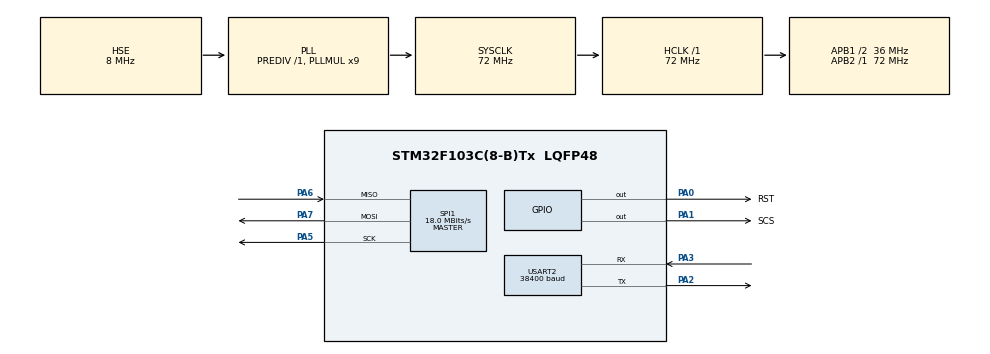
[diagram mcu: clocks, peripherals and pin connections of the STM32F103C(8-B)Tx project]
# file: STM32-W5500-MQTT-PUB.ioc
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Mcu.Family=STM32F1
Mcu.Name=STM32F103C(8-B)Tx
Mcu.Package=LQFP48
NVIC.PriorityGroup=NVIC_PRIORITYGROUP_4
PA0-WKUP.GPIO_Label=RST
PA0-WKUP.Signal=GPIO_Output
PA1.GPIO_Label=SCS
PA1.Signal=GPIO_Output
PA13.Mode=Serial_Wire
PA13.Signal=SYS_JTMS-SWDIO
PA14.Mode=Serial_Wire
PA14.Signal=SYS_JTCK-SWCLK
PA2.Mode=Asynchronous
PA2.Signal=USART2_TX
PA3.Mode=Asynchronous
PA3.Signal=USART2_RX
PA5.Mode=Full_Duplex_Master
PA5.Signal=SPI1_SCK
PA6.Mode=Full_Duplex_Master
PA6.Signal=SPI1_MISO
PA7.Mode=Full_Duplex_Master
PA7.Signal=SPI1_MOSI
PD0-OSC_IN.Mode=HSE-External-Oscillator
PD0-OSC_IN.Signal=RCC_OSC_IN
PD1-OSC_OUT.Mode=HSE-External-Oscillator
PD1-OSC_OUT.Signal=RCC_OSC_OUT
ProjectManager.HeapSize=0x200
ProjectManager.StackSize=0x400
ProjectManager.TargetToolchain=STM32CubeIDE
RCC.AHBFreq_Value=72000000
RCC.APB1CLKDivider=RCC_HCLK_DIV2
RCC.APB1Freq_Value=36000000
RCC.APB1TimFreq_Value=72000000
RCC.APB2Freq_Value=72000000
RCC.APB2TimFreq_Value=72000000
RCC.HCLKFreq_Value=72000000
RCC.PLLMUL=RCC_PLL_MUL9
RCC.PLLSourceVirtual=RCC_PLLSOURCE_HSE
RCC.SYSCLKFreq_VALUE=72000000
RCC.SYSCLKSource=RCC_SYSCLKSOURCE_PLLCLK
RCC.USBFreq_Value=72000000
SPI1.BaudRatePrescaler=SPI_BAUDRATEPRESCALER_4
SPI1.CalculateBaudRate=18.0 MBits/s
SPI1.Direction=SPI_DIRECTION_2LINES
SPI1.Mode=SPI_MODE_MASTER
SPI1.VirtualType=VM_MASTER
USART2.BaudRate=38400
USART2.VirtualMode=VM_ASYNC
board=custom

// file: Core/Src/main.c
/* USER CODE BEGIN Header */
/**
  ******************************************************************************
  * @file           : main.c
  * @brief          : Main program body
  ******************************************************************************
  * @attention
  *
  * Copyright (c) 2025 STMicroelectronics.
  * All rights reserved.
  *
  * This software is licensed under terms that can be found in the LICENSE file
  * in the root directory of this software component.
  * If no LICENSE file comes with this software, it is provided AS-IS.
  *
  ******************************************************************************
  */
/* USER CODE END Header */

#include <Internet/MQTT_interface.h>
#include <Internet/MQTTClient.h>
#include "main.h"

/* USER CODE BEGIN Includes */

#include <stdio.h>
#include <W5500/W5500_spi.h>

//w5500 related
#include "Ethernet/wizchip_conf.h"
#include "Ethernet/socket.h"

//MQTT Related

/* USER CODE END Includes */

SPI_HandleTypeDef hspi1;

UART_HandleTypeDef huart2;

/* USER CODE BEGIN PV */

wiz_NetInfo gWIZNETINFO = {
		.mac = { 0x80, 0x34, 0x28, 0x74, 0xA5, 0xCB },//MSB - LSB
		.ip ={ 192, 168, 2, 112 },
		.sn = { 255, 255, 255, 0 },
		.gw ={ 192, 168, 1, 1 },
		.dns = { 8, 8, 8, 8 },
		.dhcp = NETINFO_STATIC };

uint8_t destination_ip[]={192,168,2,10};
uint16_t destination_port = 1883;

MQTTClient mqtt_client;
Network network;
MQTTPacket_connectData connect_data=MQTTPacket_connectData_initializer;
MQTTMessage msg={QOS0,1,0,1,"JAI SHREE RAM!",14};

uint8_t sendbuff[256],receivebuff[256];

/* USER CODE END PV */

void SystemClock_Config(void);
static void MX_GPIO_Init(void);
static void MX_SPI1_Init(void);
static void MX_USART2_UART_Init(void);
/* USER CODE BEGIN PFP */

static void UWriteData(const char data);
static void PHYStatusCheck(void);
static void PrintPHYConf(void);
static void PrintBrokerIP(void);

/* USER CODE END PFP */

int main(void)
{

  /* MCU Configuration--------------------------------------------------------*/

  /* Reset of all peripherals, Initializes the Flash interface and the Systick. */
  HAL_Init();

  /* USER CODE BEGIN Init */
  setbuf(stdout, NULL);
  /* USER CODE END Init */

  /* Configure the system clock */
  SystemClock_Config();

  /* Initialize all configured peripherals */
  MX_GPIO_Init();
  MX_SPI1_Init();
  MX_USART2_UART_Init();
  /* USER CODE BEGIN 2 */

  printf("A Simple MQTT Client Publish Application using W5500!\r\n");

  W5500Init();

  ctlnetwork(CN_SET_NETINFO, (void*) &gWIZNETINFO);

  //Configure PHY by software
  wiz_PhyConf phyconf;

  phyconf.by=PHY_CONFBY_SW;
  phyconf.duplex=PHY_DUPLEX_FULL;
  phyconf.speed=PHY_SPEED_10;
  phyconf.mode=PHY_MODE_AUTONEGO;//best to go with auto-negotiation

  ctlwizchip(CW_SET_PHYCONF, (void*) &phyconf);
  //*** End Phy Configuration

  PHYStatusCheck();
  PrintPHYConf();

  //MQTT Client Part
  connect_data.willFlag = 0;
  connect_data.MQTTVersion = 3;
  connect_data.clientID.cstring = "iotencew55";
  //connect_data.username.cstring = opts.username;
  //connect_data.password.cstring = opts.password;

  connect_data.keepAliveInterval = 60;
  connect_data.cleansession = 1;

  NewNetwork(&network, 1);//1 is the socket number to use
  PrintBrokerIP();
  printf("Connecting to MQTT Broker ...");
  if(ConnectNetwork(&network, destination_ip, destination_port)!=SOCK_OK)
  {
	  printf("ERROR: Cannot connect with broker!\r\n");
	  //Broker (server) not reachable
	  while(1);
  }

  printf("SUCCESS\r\n");

  MQTTClientInit(&mqtt_client, &network, 1000, sendbuff, 256, receivebuff, 256);

  printf("Sending connect packet ...");

  if(MQTTConnect(&mqtt_client, &connect_data)!=MQTT_SUCCESS)
  {
	  printf("ERROR!");
	  while(1);
  }

  printf("SUCCESS\r\n");

  /* USER CODE END 2 */

  /* Infinite loop */
  /* USER CODE BEGIN WHILE */
  while (1)
  {
	MQTTPublish(&mqtt_client, "test/topic1", &msg);
	HAL_Delay(1000);
    /* USER CODE END WHILE */

  }
}

void SystemClock_Config(void)
{
  RCC_OscInitTypeDef RCC_OscInitStruct = {0};
  RCC_ClkInitTypeDef RCC_ClkInitStruct = {0};

  /** Initializes the RCC Oscillators according to the specified parameters
  * in the RCC_OscInitTypeDef structure.
  */
  RCC_OscInitStruct.OscillatorType = RCC_OSCILLATORTYPE_HSE;
  RCC_OscInitStruct.HSEState = RCC_HSE_ON;
  RCC_OscInitStruct.HSEPredivValue = RCC_HSE_PREDIV_DIV1;
  RCC_OscInitStruct.HSIState = RCC_HSI_ON;
  RCC_OscInitStruct.PLL.PLLState = RCC_PLL_ON;
  RCC_OscInitStruct.PLL.PLLSource = RCC_PLLSOURCE_HSE;
  RCC_OscInitStruct.PLL.PLLMUL = RCC_PLL_MUL9;
  if (HAL_RCC_OscConfig(&RCC_OscInitStruct) != HAL_OK)
  {
    Error_Handler();
  }

  /** Initializes the CPU, AHB and APB buses clocks
  */
  RCC_ClkInitStruct.ClockType = RCC_CLOCKTYPE_HCLK|RCC_CLOCKTYPE_SYSCLK
                              |RCC_CLOCKTYPE_PCLK1|RCC_CLOCKTYPE_PCLK2;
  RCC_ClkInitStruct.SYSCLKSource = RCC_SYSCLKSOURCE_PLLCLK;
  RCC_ClkInitStruct.AHBCLKDivider = RCC_SYSCLK_DIV1;
  RCC_ClkInitStruct.APB1CLKDivider = RCC_HCLK_DIV2;
  RCC_ClkInitStruct.APB2CLKDivider = RCC_HCLK_DIV1;

  if (HAL_RCC_ClockConfig(&RCC_ClkInitStruct, FLASH_LATENCY_2) != HAL_OK)
  {
    Error_Handler();
  }
}

static void MX_SPI1_Init(void)
{

  /* SPI1 parameter configuration*/
  hspi1.Instance = SPI1;
  hspi1.Init.Mode = SPI_MODE_MASTER;
  hspi1.Init.Direction = SPI_DIRECTION_2LINES;
  hspi1.Init.DataSize = SPI_DATASIZE_8BIT;
  hspi1.Init.CLKPolarity = SPI_POLARITY_LOW;
  hspi1.Init.CLKPhase = SPI_PHASE_1EDGE;
  hspi1.Init.NSS = SPI_NSS_SOFT;
  hspi1.Init.BaudRatePrescaler = SPI_BAUDRATEPRESCALER_4;
  hspi1.Init.FirstBit = SPI_FIRSTBIT_MSB;
  hspi1.Init.TIMode = SPI_TIMODE_DISABLE;
  hspi1.Init.CRCCalculation = SPI_CRCCALCULATION_DISABLE;
  hspi1.Init.CRCPolynomial = 10;
  if (HAL_SPI_Init(&hspi1) != HAL_OK)
  {
    Error_Handler();
  }

}

static void MX_USART2_UART_Init(void)
{

  huart2.Instance = USART2;
  huart2.Init.BaudRate = 38400;
  huart2.Init.WordLength = UART_WORDLENGTH_8B;
  huart2.Init.StopBits = UART_STOPBITS_1;
  huart2.Init.Parity = UART_PARITY_NONE;
  huart2.Init.Mode = UART_MODE_TX_RX;
  huart2.Init.HwFlowCtl = UART_HWCONTROL_NONE;
  huart2.Init.OverSampling = UART_OVERSAMPLING_16;
  if (HAL_UART_Init(&huart2) != HAL_OK)
  {
    Error_Handler();
  }

}

static void MX_GPIO_Init(void)
{
  GPIO_InitTypeDef GPIO_InitStruct = {0};

  /* GPIO Ports Clock Enable */
  __HAL_RCC_GPIOD_CLK_ENABLE();
  __HAL_RCC_GPIOA_CLK_ENABLE();

  /*Configure GPIO pin Output Level */
  HAL_GPIO_WritePin(GPIOA, RST_Pin|SCS_Pin, GPIO_PIN_RESET);

  /*Configure GPIO pins : RST_Pin SCS_Pin */
  GPIO_InitStruct.Pin = RST_Pin|SCS_Pin;
  GPIO_InitStruct.Mode = GPIO_MODE_OUTPUT_PP;
  GPIO_InitStruct.Pull = GPIO_NOPULL;
  GPIO_InitStruct.Speed = GPIO_SPEED_FREQ_LOW;
  HAL_GPIO_Init(GPIOA, &GPIO_InitStruct);

}

/* USER CODE BEGIN 4 */

void UWriteData(const char data)
{
	while(__HAL_UART_GET_FLAG(&huart2,UART_FLAG_TXE)==RESET);

	//huart2.Instance->TDR=data;
	huart2.Instance->DR=data;

}

int __io_putchar(int ch)
{
	UWriteData(ch);
	return ch;
}

void PHYStatusCheck(void)
{
	uint8_t tmp;

	do
	{
		printf("\r\nChecking Ethernet Cable Presence ...");
		ctlwizchip(CW_GET_PHYLINK, (void*) &tmp);

		if(tmp == PHY_LINK_OFF)
		{
			printf("NO Cable Connected!");
			HAL_Delay(1500);
		}
	}while(tmp == PHY_LINK_OFF);

	printf("Good! Cable got connected!");

}

void PrintPHYConf(void)
{
	wiz_PhyConf phyconf;

	ctlwizchip(CW_GET_PHYCONF, (void*) &phyconf);

	if(phyconf.by==PHY_CONFBY_HW)
	{
		printf("\r\nPHY Configured by Hardware Pins");
	}
	else
	{
		printf("\r\nPHY Configured by Registers");
	}

	if(phyconf.mode==PHY_MODE_AUTONEGO)
	{
		printf("\r\nAutonegotiation Enabled");
	}
	else
	{
		printf("\r\nAutonegotiation NOT Enabled");
	}

	if(phyconf.duplex==PHY_DUPLEX_FULL)
	{
		printf("\r\nDuplex Mode: Full");
	}
	else
	{
		printf("\r\nDuplex Mode: Half");
	}

	if(phyconf.speed==PHY_SPEED_10)
	{
		printf("\r\nSpeed: 10Mbps");
	}
	else
	{
		printf("\r\nSpeed: 100Mbps");
	}
}

static void PrintBrokerIP(void)
{
	printf("Broker IP: %d.%d.%d.%d\r\n",destination_ip[0],destination_ip[1],destination_ip[2],destination_ip[3]);
}

/* USER CODE END 4 */

void Error_Handler(void)
{
  __disable_irq();
  while (1)
  {
  }
}
